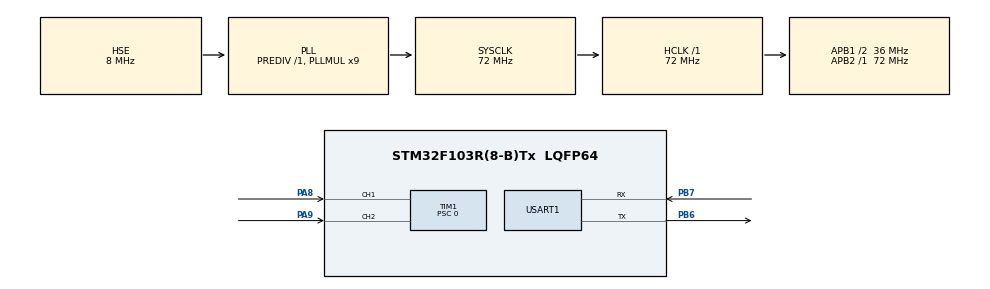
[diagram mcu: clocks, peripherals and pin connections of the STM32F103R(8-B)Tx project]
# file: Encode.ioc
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Mcu.Family=STM32F1
Mcu.Name=STM32F103R(8-B)Tx
Mcu.Package=LQFP64
NVIC.PriorityGroup=NVIC_PRIORITYGROUP_4
NVIC.TIM2_IRQn=true\:0\:0\:false\:false\:true\:true\:true
PA13.Mode=Serial_Wire
PA13.Signal=SYS_JTMS-SWDIO
PA14.Mode=Serial_Wire
PA14.Signal=SYS_JTCK-SWCLK
PA8.Signal=S_TIM1_CH1
PA9.Signal=S_TIM1_CH2
PB6.Mode=Asynchronous
PB6.Signal=USART1_TX
PB7.Mode=Asynchronous
PB7.Signal=USART1_RX
PD0-OSC_IN.Mode=HSE-External-Oscillator
PD0-OSC_IN.Signal=RCC_OSC_IN
PD1-OSC_OUT.Mode=HSE-External-Oscillator
PD1-OSC_OUT.Signal=RCC_OSC_OUT
ProjectManager.HeapSize=0x200
ProjectManager.StackSize=0x400
ProjectManager.TargetToolchain=MDK-ARM V5.27
RCC.AHBFreq_Value=72000000
RCC.APB1CLKDivider=RCC_HCLK_DIV2
RCC.APB1Freq_Value=36000000
RCC.APB1TimFreq_Value=72000000
RCC.APB2Freq_Value=72000000
RCC.APB2TimFreq_Value=72000000
RCC.HCLKFreq_Value=72000000
RCC.PLLMUL=RCC_PLL_MUL9
RCC.PLLSourceVirtual=RCC_PLLSOURCE_HSE
RCC.SYSCLKFreq_VALUE=72000000
RCC.SYSCLKSource=RCC_SYSCLKSOURCE_PLLCLK
RCC.USBFreq_Value=72000000
SH.S_TIM1_CH1.0=TIM1_CH1,Encoder_Interface
SH.S_TIM1_CH2.0=TIM1_CH2,Encoder_Interface
TIM1.AutoReloadPreload=TIM_AUTORELOAD_PRELOAD_ENABLE
TIM1.EncoderMode=TIM_ENCODERMODE_TI12
TIM1.Prescaler=0
TIM2.AutoReloadPreload=TIM_AUTORELOAD_PRELOAD_ENABLE
TIM2.Period=100-1
TIM2.Prescaler=72-1
USART1.VirtualMode=VM_ASYNC
VP_TIM2_VS_ClockSourceINT.Mode=Internal
board=custom

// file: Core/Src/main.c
/* USER CODE BEGIN Header */
/**
  ******************************************************************************
  * @file           : main.c
  * @brief          : Main program body
  ******************************************************************************
  * @attention
  *
  * 10.8凌晨 定时器出现问题待解决
  *
  ******************************************************************************
  */
/* USER CODE END Header */
#include "main.h"
#include "tim.h"
#include "usart.h"
#include "gpio.h"

void SystemClock_Config(void);

/* USER CODE BEGIN 0 */
uint32_t count = 0;
/**
  * @brief  串口调试
  * @retval None
  */
#include "stdio.h"
#define DEBUG
#ifdef DEBUG
#define DBG(format, ...) fprintf(stdout, "[\tDBG](File:%s, Func:%s(), Line:%d): " \
                                , __FILE__, __FUNCTION__, __LINE__);             \
                         fprintf(stdout, format"\r\n", ##__VA_ARGS__)
#else
#define DBG(format, ...)  do {} while (0)
#endif

int fputc(int ch, FILE *f){
    uint8_t temp[1] = {ch};
    HAL_UART_Transmit(&huart1, temp, 1, 2);//huart1 根据配置修改
    return ch;
}
/* USER CODE END 0 */

int main(void)
{

  /* MCU Configuration--------------------------------------------------------*/

  /* Reset of all peripherals, Initializes the Flash interface and the Systick. */
  HAL_Init();

  /* Configure the system clock */
  SystemClock_Config();

  /* Initialize all configured peripherals */
  MX_GPIO_Init();
  MX_TIM1_Init();
  MX_TIM2_Init();
  MX_USART1_UART_Init();
  /* USER CODE BEGIN 2 */
  HAL_TIM_Encoder_Start(&htim1, TIM_CHANNEL_ALL);
  HAL_TIM_Base_Start_IT(&htim2);
  /* USER CODE END 2 */

  /* Infinite loop */
  /* USER CODE BEGIN WHILE */
  while (1)
  {
    //printf("%d\r\n", count);
    /* USER CODE END WHILE */

  }
}

void SystemClock_Config(void)
{
  RCC_OscInitTypeDef RCC_OscInitStruct = {0};
  RCC_ClkInitTypeDef RCC_ClkInitStruct = {0};

  /** Initializes the RCC Oscillators according to the specified parameters
  * in the RCC_OscInitTypeDef structure.
  */
  RCC_OscInitStruct.OscillatorType = RCC_OSCILLATORTYPE_HSE;
  RCC_OscInitStruct.HSEState = RCC_HSE_ON;
  RCC_OscInitStruct.HSEPredivValue = RCC_HSE_PREDIV_DIV1;
  RCC_OscInitStruct.HSIState = RCC_HSI_ON;
  RCC_OscInitStruct.PLL.PLLState = RCC_PLL_ON;
  RCC_OscInitStruct.PLL.PLLSource = RCC_PLLSOURCE_HSE;
  RCC_OscInitStruct.PLL.PLLMUL = RCC_PLL_MUL9;
  if (HAL_RCC_OscConfig(&RCC_OscInitStruct) != HAL_OK)
  {
    Error_Handler();
  }
  /** Initializes the CPU, AHB and APB buses clocks
  */
  RCC_ClkInitStruct.ClockType = RCC_CLOCKTYPE_HCLK|RCC_CLOCKTYPE_SYSCLK
                              |RCC_CLOCKTYPE_PCLK1|RCC_CLOCKTYPE_PCLK2;
  RCC_ClkInitStruct.SYSCLKSource = RCC_SYSCLKSOURCE_PLLCLK;
  RCC_ClkInitStruct.AHBCLKDivider = RCC_SYSCLK_DIV1;
  RCC_ClkInitStruct.APB1CLKDivider = RCC_HCLK_DIV2;
  RCC_ClkInitStruct.APB2CLKDivider = RCC_HCLK_DIV1;

  if (HAL_RCC_ClockConfig(&RCC_ClkInitStruct, FLASH_LATENCY_2) != HAL_OK)
  {
    Error_Handler();
  }
}

/* USER CODE BEGIN 4 */
void HAL_TIM_PeriodElapsedCallback(TIM_HandleTypeDef *htim)  //1ms进一次中断 编码器数值传进PID
{
  //printf("hello!");
   if(htim->Instance == htim2.Instance)
   {
      printf("%d\r\n", count);
      count = (uint32_t)(__HAL_TIM_GET_COUNTER(&htim1)); //读取编码器数值
      __HAL_TIM_SET_COUNTER(&htim1, 0); //把这个数值清零从新计数
   }
}
/* USER CODE END 4 */

void Error_Handler(void)
{
}

/************************ (C) COPYRIGHT STMicroelectronics *****END OF FILE****/
